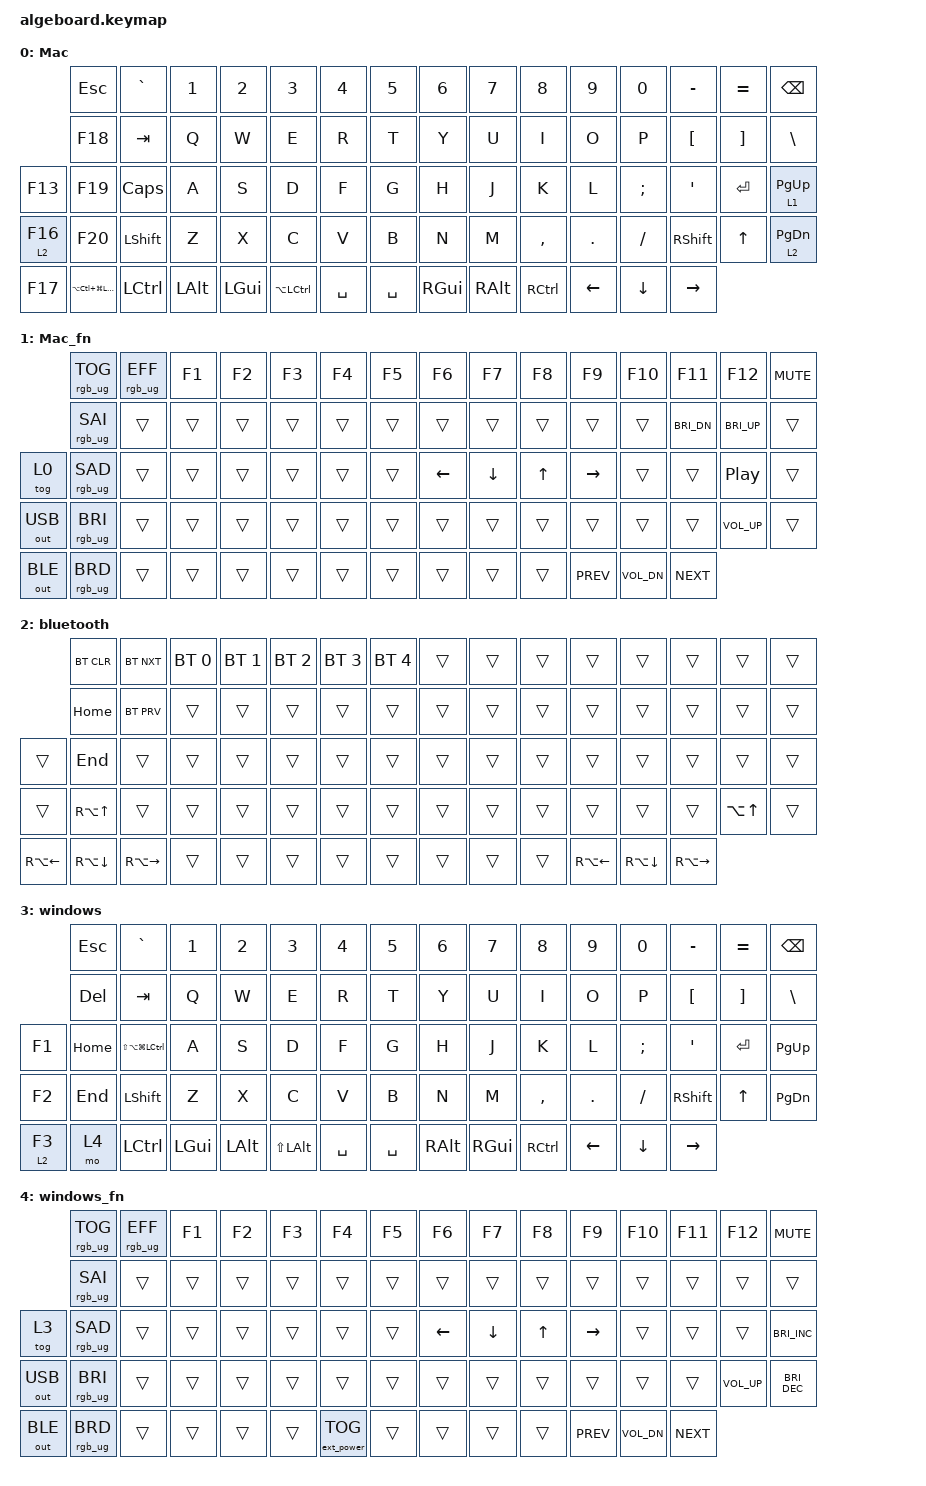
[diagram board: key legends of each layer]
/*
 * Copyright (c) 2020 The ZMK Contributors
 *
 * SPDX-License-Identifier: MIT
 */

#include <behaviors.dtsi>
#include <dt-bindings/zmk/bt.h>
#include <dt-bindings/zmk/ext_power.h>
#include <dt-bindings/zmk/keys.h>
#include <dt-bindings/zmk/outputs.h>
#include <dt-bindings/zmk/rgb.h>

/ {
    keymap {
        compatible = "zmk,keymap";

        Mac {
            bindings = <
           &kp ESC                     &kp GRAVE   &kp N1        &kp N2        &kp N3         &kp N4     &kp N5     &kp N6         &kp N7         &kp N8     &kp N9    &kp N0     &kp MINUS   &kp EQUAL  &kp BACKSPACE
           &kp F18                     &kp TAB     &kp Q         &kp W         &kp E          &kp R      &kp T      &kp Y          &kp U          &kp I      &kp O     &kp P      &kp LBKT    &kp RBKT   &kp BACKSLASH
&kp F13    &kp F19                     &kp CAPS    &kp A         &kp S         &kp D          &kp F      &kp G      &kp H          &kp J          &kp K      &kp L     &kp SEMI   &kp SQT     &kp ENTER  &lt 1 PG_UP
&lt 2 F16  &kp F20                     &kp LSHIFT  &kp Z         &kp X         &kp C          &kp V      &kp B      &kp N          &kp M          &kp COMMA  &kp DOT   &kp SLASH  &kp RSHIFT  &kp UP     &lt 2 PAGE_DOWN
&kp F17    &kp LA(LC(LG(LEFT_SHIFT)))  &kp LCTRL   &kp LEFT_ALT  &kp LEFT_GUI  &kp LA(LCTRL)  &kp SPACE  &kp SPACE  &kp RIGHT_GUI  &kp RIGHT_ALT  &kp RCTRL  &kp LEFT  &kp DOWN   &kp RIGHT
            >;
        };

        Mac_fn {
            bindings = <
              &rgb_ug RGB_TOG  &rgb_ug RGB_EFF  &kp F1  &kp F2  &kp F3  &kp F4  &kp F5  &kp F6    &kp F7    &kp F8  &kp F9      &kp F10       &kp F11       &kp F12       &kp C_MUTE
              &rgb_ug RGB_SAI  &trans           &trans  &trans  &trans  &trans  &trans  &trans    &trans    &trans  &trans      &trans        &kp C_BRI_DN  &kp C_BRI_UP  &trans
&tog 0        &rgb_ug RGB_SAD  &trans           &trans  &trans  &trans  &trans  &trans  &kp LEFT  &kp DOWN  &kp UP  &kp RIGHT   &trans        &trans        &kp C_PP      &trans
&out OUT_USB  &rgb_ug RGB_BRI  &trans           &trans  &trans  &trans  &trans  &trans  &trans    &trans    &trans  &trans      &trans        &trans        &kp C_VOL_UP  &trans
&out OUT_BLE  &rgb_ug RGB_BRD  &trans           &trans  &trans  &trans  &trans  &trans  &trans    &trans    &trans  &kp C_PREV  &kp C_VOL_DN  &kp C_NEXT
            >;
        };

        bluetooth {
            bindings = <
              &bt BT_CLR    &bt BT_NXT     &bt BT_SEL 0  &bt BT_SEL 1  &bt BT_SEL 2  &bt BT_SEL 3  &bt BT_SEL 4  &trans  &trans  &trans  &trans        &trans        &trans         &trans      &trans
              &kp HOME      &bt BT_PRV     &trans        &trans        &trans        &trans        &trans        &trans  &trans  &trans  &trans        &trans        &trans         &trans      &trans
&trans        &kp END       &trans         &trans        &trans        &trans        &trans        &trans        &trans  &trans  &trans  &trans        &trans        &trans         &trans      &trans
&trans        &kp RA(UP)    &trans         &trans        &trans        &trans        &trans        &trans        &trans  &trans  &trans  &trans        &trans        &trans         &kp LA(UP)  &trans
&kp RA(LEFT)  &kp RA(DOWN)  &kp RA(RIGHT)  &trans        &trans        &trans        &trans        &trans        &trans  &trans  &trans  &kp RA(LEFT)  &kp RA(DOWN)  &kp RA(RIGHT)
            >;
        };

        windows {
            bindings = <
          &kp ESC   &kp GRAVE              &kp N1        &kp N2        &kp N3        &kp N4     &kp N5     &kp N6         &kp N7         &kp N8     &kp N9    &kp N0     &kp MINUS   &kp EQUAL  &kp BACKSPACE
          &kp DEL   &kp TAB                &kp Q         &kp W         &kp E         &kp R      &kp T      &kp Y          &kp U          &kp I      &kp O     &kp P      &kp LBKT    &kp RBKT   &kp BACKSLASH
&kp F1    &kp HOME  &kp LS(LA(LG(LCTRL)))  &kp A         &kp S         &kp D         &kp F      &kp G      &kp H          &kp J          &kp K      &kp L     &kp SEMI   &kp SQT     &kp ENTER  &kp PG_UP
&kp F2    &kp END   &kp LSHIFT             &kp Z         &kp X         &kp C         &kp V      &kp B      &kp N          &kp M          &kp COMMA  &kp DOT   &kp SLASH  &kp RSHIFT  &kp UP     &kp PG_DN
&lt 2 F3  &mo 4     &kp LCTRL              &kp LEFT_GUI  &kp LEFT_ALT  &kp LS(LALT)  &kp SPACE  &kp SPACE  &kp RIGHT_ALT  &kp RIGHT_GUI  &kp RCTRL  &kp LEFT  &kp DOWN   &kp RIGHT
            >;
        };

        windows_fn {
            bindings = <
              &rgb_ug RGB_TOG  &rgb_ug RGB_EFF  &kp F1  &kp F2  &kp F3  &kp F4             &kp F5  &kp F6    &kp F7    &kp F8  &kp F9      &kp F10       &kp F11     &kp F12       &kp C_MUTE
              &rgb_ug RGB_SAI  &trans           &trans  &trans  &trans  &trans             &trans  &trans    &trans    &trans  &trans      &trans        &trans      &trans        &trans
&tog 3        &rgb_ug RGB_SAD  &trans           &trans  &trans  &trans  &trans             &trans  &kp LEFT  &kp DOWN  &kp UP  &kp RIGHT   &trans        &trans      &trans        &kp C_BRI_INC
&out OUT_USB  &rgb_ug RGB_BRI  &trans           &trans  &trans  &trans  &trans             &trans  &trans    &trans    &trans  &trans      &trans        &trans      &kp C_VOL_UP  &kp C_BRI_DEC
&out OUT_BLE  &rgb_ug RGB_BRD  &trans           &trans  &trans  &trans  &ext_power EP_TOG  &trans  &trans    &trans    &trans  &kp C_PREV  &kp C_VOL_DN  &kp C_NEXT
            >;
        };
    };
};
